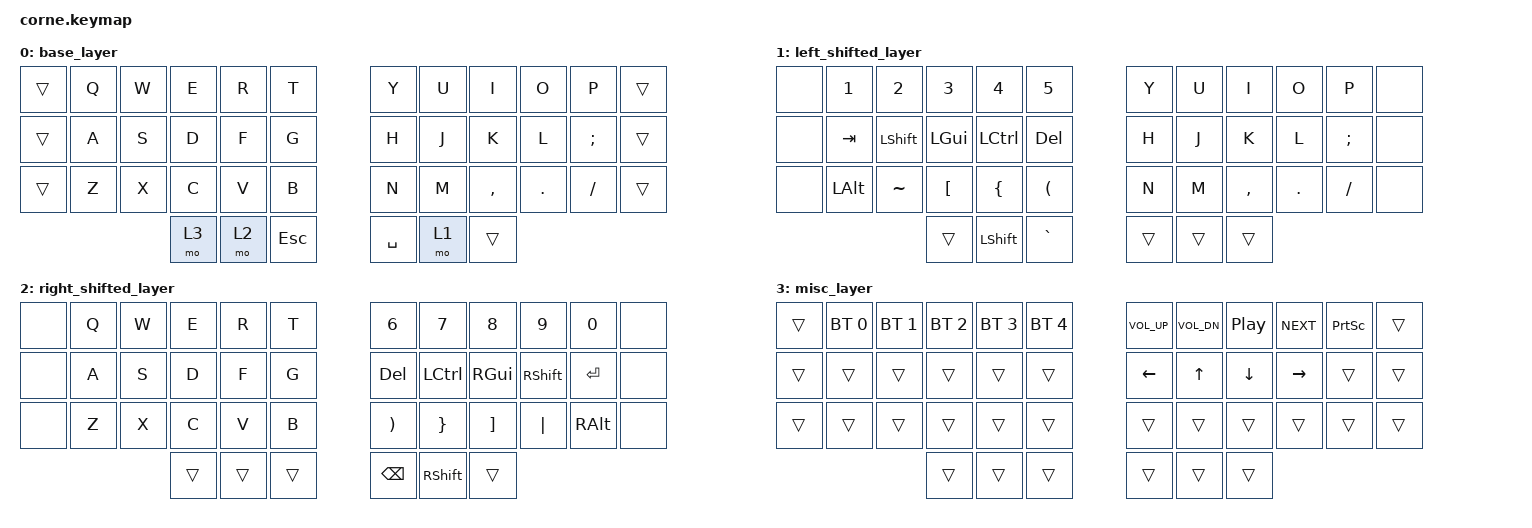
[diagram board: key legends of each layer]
/*
 * Copyright (c) 2020 The ZMK Contributors
 *
 * SPDX-License-Identifier: MIT
 */

#include <behaviors.dtsi>
#include <dt-bindings/zmk/bt.h>
#include <dt-bindings/zmk/keys.h>

/ {
    keymap {
        compatible = "zmk,keymap";

        base_layer {
            // -----------------------------------------------------------------------------------------
            // |  TAB |  Q  |  W  |  E  |  R  |  T  |   |  Y  |  U   |  I  |  O  |  P  | BSPC |
            // | CTRL |  A  |  S  |  D  |  F  |  G  |   |  H  |  J   |  K  |  L  |  ;  |  '   |
            // | SHFT |  Z  |  X  |  C  |  V  |  B  |   |  N  |  M   |  ,  |  .  |  /  | ESC  |
            //                    | GUI | LWR | SPC |   | ENT | RSE  | ALT |

            bindings = <
&trans  &kp Q  &kp W  &kp E  &kp R  &kp T      &kp Y      &kp U  &kp I      &kp O    &kp P     &trans
&trans  &kp A  &kp S  &kp D  &kp F  &kp G      &kp H      &kp J  &kp K      &kp L    &kp SEMI  &trans
&trans  &kp Z  &kp X  &kp C  &kp V  &kp B      &kp N      &kp M  &kp COMMA  &kp DOT  &kp FSLH  &trans
                      &mo 3  &mo 2  &kp ESC    &kp SPACE  &mo 1  &trans
            >;
        };

        left_shifted_layer {
            // -----------------------------------------------------------------------------------------
            // |  TAB |  1  |  2  |  3  |  4  |  5  |   |  6  |  7  |  8  |  9  |  0  | BSPC |
            // | BTCLR| BT1 | BT2 | BT3 | BT4 | BT5 |   | LFT | DWN |  UP | RGT |     |      |
            // | SHFT |     |     |     |     |     |   |     |     |     |     |     |      |
            //                    | GUI |     | SPC |   | ENT |     | ALT |

            bindings = <
&none  &kp N1        &kp N2          &kp N3            &kp N4          &kp N5                  &kp Y   &kp U   &kp I      &kp O    &kp P     &none
&none  &kp TAB       &kp LEFT_SHIFT  &kp LEFT_GUI      &kp LCTRL       &kp DEL                 &kp H   &kp J   &kp K      &kp L    &kp SEMI  &none
&none  &kp LEFT_ALT  &kp TILDE       &kp LEFT_BRACKET  &kp LEFT_BRACE  &kp LEFT_PARENTHESIS    &kp N   &kp M   &kp COMMA  &kp DOT  &kp FSLH  &none
                                     &trans            &kp LEFT_SHIFT  &kp GRAVE               &trans  &trans  &trans
            >;
        };

        right_shifted_layer {
            // -----------------------------------------------------------------------------------------
            // |  TAB |  !  |  @  |  #  |  $  |  %  |   |  ^  |  &  |  *  |  (  |  )  | BSPC |
            // | CTRL |     |     |     |     |     |   |  -  |  =  |  [  |  ]  |  \  |  `   |
            // | SHFT |     |     |     |     |     |   |  _  |  +  |  {  |  }  | "|" |  ~   |
            //                    | GUI |     | SPC |   | ENT |     | ALT |

            bindings = <
&none  &kp Q  &kp W  &kp E   &kp R   &kp T     &kp NUMBER_6           &kp N7           &kp N8    &kp N9     &kp N0    &none
&none  &kp A  &kp S  &kp D   &kp F   &kp G     &kp DELETE             &kp LCTRL        &kp RGUI  &kp RSHFT  &kp RET   &none
&none  &kp Z  &kp X  &kp C   &kp V   &kp B     &kp RIGHT_PARENTHESIS  &kp RIGHT_BRACE  &kp RBKT  &kp PIPE   &kp RALT  &none
                     &trans  &trans  &trans    &kp BSPC               &kp RSHFT        &trans
            >;
        };

        misc_layer {
            bindings = <
&trans  &bt BT_SEL 0  &bt BT_SEL 1  &bt BT_SEL 2  &bt BT_SEL 3  &bt BT_SEL 4    &kp C_VOLUME_UP  &kp C_VOL_DN  &kp C_PLAY_PAUSE  &kp C_NEXT  &kp PRINTSCREEN  &trans
&trans  &trans        &trans        &trans        &trans        &trans          &kp LEFT         &kp UP_ARROW  &kp DOWN          &kp RIGHT   &trans           &trans
&trans  &trans        &trans        &trans        &trans        &trans          &trans           &trans        &trans            &trans      &trans           &trans
                                    &trans        &trans        &trans          &trans           &trans        &trans
            >;
        };
    };
};
